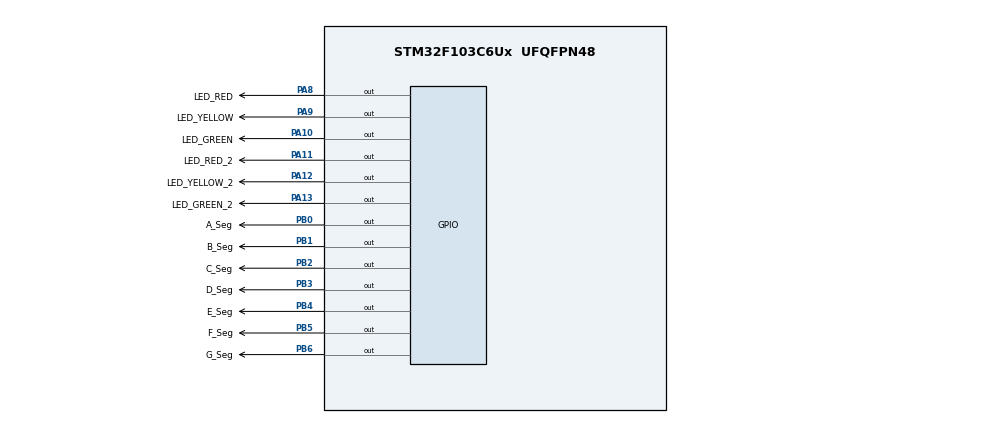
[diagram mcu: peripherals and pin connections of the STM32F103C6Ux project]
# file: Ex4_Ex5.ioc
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Mcu.Family=STM32F1
Mcu.Name=STM32F103C6Ux
Mcu.Package=UFQFPN48
NVIC.PriorityGroup=NVIC_PRIORITYGROUP_4
PA10.GPIO_Label=LED_GREEN
PA10.Signal=GPIO_Output
PA11.GPIO_Label=LED_RED_2
PA11.Signal=GPIO_Output
PA12.GPIO_Label=LED_YELLOW_2
PA12.Signal=GPIO_Output
PA13.GPIO_Label=LED_GREEN_2
PA13.Signal=GPIO_Output
PA8.GPIO_Label=LED_RED
PA8.Signal=GPIO_Output
PA9.GPIO_Label=LED_YELLOW
PA9.Signal=GPIO_Output
PB0.GPIO_Label=A_Seg
PB0.Signal=GPIO_Output
PB1.GPIO_Label=B_Seg
PB1.Signal=GPIO_Output
PB2.GPIO_Label=C_Seg
PB2.Signal=GPIO_Output
PB3.GPIO_Label=D_Seg
PB3.Signal=GPIO_Output
PB4.GPIO_Label=E_Seg
PB4.Signal=GPIO_Output
PB5.GPIO_Label=F_Seg
PB5.Signal=GPIO_Output
PB6.GPIO_Label=G_Seg
PB6.Signal=GPIO_Output
ProjectManager.HeapSize=0x200
ProjectManager.StackSize=0x400
ProjectManager.TargetToolchain=STM32CubeIDE
RCC.APB1Freq_Value=8000000
RCC.APB2Freq_Value=8000000
VP_SYS_VS_ND.Mode=No_Debug
board=custom

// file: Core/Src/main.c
/* USER CODE BEGIN Header */
/**
  ******************************************************************************
  * @file           : main.c
  * @brief          : Main program body
  ******************************************************************************
  * @attention
  *
  * <h2><center>&copy; Copyright (c) 2022 STMicroelectronics.
  * All rights reserved.</center></h2>
  *
  * This software component is licensed by ST under BSD 3-Clause license,
  * the "License"; You may not use this file except in compliance with the
  * License. You may obtain a copy of the License at:
  *                        opensource.org/licenses/BSD-3-Clause
  *
  ******************************************************************************
  */
/* USER CODE END Header */
#include "main.h"

/* USER CODE BEGIN PD */

#define RED_TIME 5
#define YELLOW_TIME 2
#define GREEN_TIME 3
/* USER CODE END PD */

void SystemClock_Config(void);
static void MX_GPIO_Init(void);

/* USER CODE BEGIN 0 */
void display7SEG(int num){

	switch(num){
		case 0:
			HAL_GPIO_WritePin(A_Seg_GPIO_Port, A_Seg_Pin, GPIO_PIN_RESET);
			HAL_GPIO_WritePin(B_Seg_GPIO_Port, B_Seg_Pin, GPIO_PIN_RESET);
			HAL_GPIO_WritePin(C_Seg_GPIO_Port, C_Seg_Pin, GPIO_PIN_RESET);
			HAL_GPIO_WritePin(D_Seg_GPIO_Port, D_Seg_Pin, GPIO_PIN_RESET);
			HAL_GPIO_WritePin(E_Seg_GPIO_Port, E_Seg_Pin, GPIO_PIN_RESET);
			HAL_GPIO_WritePin(F_Seg_GPIO_Port, F_Seg_Pin, GPIO_PIN_RESET);
			HAL_GPIO_WritePin(G_Seg_GPIO_Port, G_Seg_Pin, GPIO_PIN_SET);
			break;
		case 1:
			HAL_GPIO_WritePin(A_Seg_GPIO_Port, A_Seg_Pin, GPIO_PIN_SET);
			HAL_GPIO_WritePin(B_Seg_GPIO_Port, B_Seg_Pin, GPIO_PIN_RESET);
			HAL_GPIO_WritePin(C_Seg_GPIO_Port, C_Seg_Pin, GPIO_PIN_RESET);
			HAL_GPIO_WritePin(D_Seg_GPIO_Port, D_Seg_Pin, GPIO_PIN_SET);
			HAL_GPIO_WritePin(E_Seg_GPIO_Port, E_Seg_Pin, GPIO_PIN_SET);
			HAL_GPIO_WritePin(F_Seg_GPIO_Port, F_Seg_Pin, GPIO_PIN_SET);
			HAL_GPIO_WritePin(G_Seg_GPIO_Port, G_Seg_Pin, GPIO_PIN_SET);
			break;
		case 2:
			HAL_GPIO_WritePin(A_Seg_GPIO_Port, A_Seg_Pin, GPIO_PIN_RESET);
			HAL_GPIO_WritePin(B_Seg_GPIO_Port, B_Seg_Pin, GPIO_PIN_RESET);
			HAL_GPIO_WritePin(C_Seg_GPIO_Port, C_Seg_Pin, GPIO_PIN_SET);
			HAL_GPIO_WritePin(D_Seg_GPIO_Port, D_Seg_Pin, GPIO_PIN_RESET);
			HAL_GPIO_WritePin(E_Seg_GPIO_Port, E_Seg_Pin, GPIO_PIN_RESET);
			HAL_GPIO_WritePin(F_Seg_GPIO_Port, F_Seg_Pin, GPIO_PIN_SET);
			HAL_GPIO_WritePin(G_Seg_GPIO_Port, G_Seg_Pin, GPIO_PIN_RESET);
			break;
		case 3:
			HAL_GPIO_WritePin(A_Seg_GPIO_Port, A_Seg_Pin, GPIO_PIN_RESET);
			HAL_GPIO_WritePin(B_Seg_GPIO_Port, B_Seg_Pin, GPIO_PIN_RESET);
			HAL_GPIO_WritePin(C_Seg_GPIO_Port, C_Seg_Pin, GPIO_PIN_RESET);
			HAL_GPIO_WritePin(D_Seg_GPIO_Port, D_Seg_Pin, GPIO_PIN_RESET);
			HAL_GPIO_WritePin(E_Seg_GPIO_Port, E_Seg_Pin, GPIO_PIN_SET);
			HAL_GPIO_WritePin(F_Seg_GPIO_Port, F_Seg_Pin, GPIO_PIN_SET);
			HAL_GPIO_WritePin(G_Seg_GPIO_Port, G_Seg_Pin, GPIO_PIN_RESET);
			break;
		case 4:
			HAL_GPIO_WritePin(A_Seg_GPIO_Port, A_Seg_Pin, GPIO_PIN_SET);
			HAL_GPIO_WritePin(B_Seg_GPIO_Port, B_Seg_Pin, GPIO_PIN_RESET);
			HAL_GPIO_WritePin(C_Seg_GPIO_Port, C_Seg_Pin, GPIO_PIN_RESET);
			HAL_GPIO_WritePin(D_Seg_GPIO_Port, D_Seg_Pin, GPIO_PIN_SET);
			HAL_GPIO_WritePin(E_Seg_GPIO_Port, E_Seg_Pin, GPIO_PIN_SET);
			HAL_GPIO_WritePin(F_Seg_GPIO_Port, F_Seg_Pin, GPIO_PIN_RESET);
			HAL_GPIO_WritePin(G_Seg_GPIO_Port, G_Seg_Pin, GPIO_PIN_RESET);
			break;
		case 5:
			HAL_GPIO_WritePin(A_Seg_GPIO_Port, A_Seg_Pin, GPIO_PIN_RESET);
			HAL_GPIO_WritePin(B_Seg_GPIO_Port, B_Seg_Pin, GPIO_PIN_SET);
			HAL_GPIO_WritePin(C_Seg_GPIO_Port, C_Seg_Pin, GPIO_PIN_RESET);
			HAL_GPIO_WritePin(D_Seg_GPIO_Port, D_Seg_Pin, GPIO_PIN_RESET);
			HAL_GPIO_WritePin(E_Seg_GPIO_Port, E_Seg_Pin, GPIO_PIN_SET);
			HAL_GPIO_WritePin(F_Seg_GPIO_Port, F_Seg_Pin, GPIO_PIN_RESET);
			HAL_GPIO_WritePin(G_Seg_GPIO_Port, G_Seg_Pin, GPIO_PIN_RESET);
			break;
		case 6:
			HAL_GPIO_WritePin(A_Seg_GPIO_Port, A_Seg_Pin, GPIO_PIN_RESET);
			HAL_GPIO_WritePin(B_Seg_GPIO_Port, B_Seg_Pin, GPIO_PIN_SET);
			HAL_GPIO_WritePin(C_Seg_GPIO_Port, C_Seg_Pin, GPIO_PIN_RESET);
			HAL_GPIO_WritePin(D_Seg_GPIO_Port, D_Seg_Pin, GPIO_PIN_RESET);
			HAL_GPIO_WritePin(E_Seg_GPIO_Port, E_Seg_Pin, GPIO_PIN_RESET);
			HAL_GPIO_WritePin(F_Seg_GPIO_Port, F_Seg_Pin, GPIO_PIN_RESET);
			HAL_GPIO_WritePin(G_Seg_GPIO_Port, G_Seg_Pin, GPIO_PIN_RESET);
			break;
		case 7:
			HAL_GPIO_WritePin(A_Seg_GPIO_Port, A_Seg_Pin, GPIO_PIN_RESET);
			HAL_GPIO_WritePin(B_Seg_GPIO_Port, B_Seg_Pin, GPIO_PIN_RESET);
			HAL_GPIO_WritePin(C_Seg_GPIO_Port, C_Seg_Pin, GPIO_PIN_RESET);
			HAL_GPIO_WritePin(D_Seg_GPIO_Port, D_Seg_Pin, GPIO_PIN_SET);
			HAL_GPIO_WritePin(E_Seg_GPIO_Port, E_Seg_Pin, GPIO_PIN_SET);
			HAL_GPIO_WritePin(F_Seg_GPIO_Port, F_Seg_Pin, GPIO_PIN_SET);
			HAL_GPIO_WritePin(G_Seg_GPIO_Port, G_Seg_Pin, GPIO_PIN_SET);
			break;
		case 8:
			HAL_GPIO_WritePin(A_Seg_GPIO_Port, A_Seg_Pin, GPIO_PIN_RESET);
			HAL_GPIO_WritePin(B_Seg_GPIO_Port, B_Seg_Pin, GPIO_PIN_RESET);
			HAL_GPIO_WritePin(C_Seg_GPIO_Port, C_Seg_Pin, GPIO_PIN_RESET);
			HAL_GPIO_WritePin(D_Seg_GPIO_Port, D_Seg_Pin, GPIO_PIN_RESET);
			HAL_GPIO_WritePin(E_Seg_GPIO_Port, E_Seg_Pin, GPIO_PIN_RESET);
			HAL_GPIO_WritePin(F_Seg_GPIO_Port, F_Seg_Pin, GPIO_PIN_RESET);
			HAL_GPIO_WritePin(G_Seg_GPIO_Port, G_Seg_Pin, GPIO_PIN_RESET);
			break;
		case 9:
			HAL_GPIO_WritePin(A_Seg_GPIO_Port, A_Seg_Pin, GPIO_PIN_RESET);
			HAL_GPIO_WritePin(B_Seg_GPIO_Port, B_Seg_Pin, GPIO_PIN_RESET);
			HAL_GPIO_WritePin(C_Seg_GPIO_Port, C_Seg_Pin, GPIO_PIN_RESET);
			HAL_GPIO_WritePin(D_Seg_GPIO_Port, D_Seg_Pin, GPIO_PIN_RESET);
			HAL_GPIO_WritePin(E_Seg_GPIO_Port, E_Seg_Pin, GPIO_PIN_SET);
			HAL_GPIO_WritePin(F_Seg_GPIO_Port, F_Seg_Pin, GPIO_PIN_RESET);
			HAL_GPIO_WritePin(G_Seg_GPIO_Port, G_Seg_Pin, GPIO_PIN_RESET);
			break;
		default:
			HAL_GPIO_WritePin(A_Seg_GPIO_Port, A_Seg_Pin, GPIO_PIN_SET);
			HAL_GPIO_WritePin(B_Seg_GPIO_Port, B_Seg_Pin, GPIO_PIN_SET);
			HAL_GPIO_WritePin(C_Seg_GPIO_Port, C_Seg_Pin, GPIO_PIN_SET);
			HAL_GPIO_WritePin(D_Seg_GPIO_Port, D_Seg_Pin, GPIO_PIN_SET);
			HAL_GPIO_WritePin(E_Seg_GPIO_Port, E_Seg_Pin, GPIO_PIN_SET);
			HAL_GPIO_WritePin(F_Seg_GPIO_Port, F_Seg_Pin, GPIO_PIN_SET);
			HAL_GPIO_WritePin(G_Seg_GPIO_Port, G_Seg_Pin, GPIO_PIN_SET);
			break;
	}
}
/* USER CODE END 0 */

int main(void)
{

  /* MCU Configuration--------------------------------------------------------*/

  /* Reset of all peripherals, Initializes the Flash interface and the Systick. */
  HAL_Init();

  /* Configure the system clock */
  SystemClock_Config();

  /* Initialize all configured peripherals */
  MX_GPIO_Init();

  /* Infinite loop */
  /* USER CODE BEGIN WHILE */
	int red_counter = RED_TIME, red_check_on=1;
	int yellow_counter= YELLOW_TIME, yellow_check_on=0;
	int green_counter= GREEN_TIME, green_check_on=0;

	int red_counter2 = RED_TIME, red_check_on2=0;
	int yellow_counter2=YELLOW_TIME, yellow_check_on2=0;
	int green_counter2=GREEN_TIME, green_check_on2=1;

  while (1)
  {
    /* USER CODE END WHILE */
	  //Đếm đèn 1
	if(red_counter<=0 && red_check_on){
	  red_check_on=0;
	  red_counter=RED_TIME;
	  yellow_check_on=0;
	  green_check_on=1;
	}else if(yellow_counter<=0 && yellow_check_on){
	  yellow_check_on=0;
	  yellow_counter=YELLOW_TIME;
	  red_check_on=1;
	  green_check_on=0;
	}else if(green_counter<=0 && green_check_on){
	  green_check_on=0;
	  green_counter=GREEN_TIME;
	  yellow_check_on=1;
	  red_check_on=0;
	}

	//Đếm đèn 2
	if(red_counter2<=0 && red_check_on2){
	  red_check_on2=0;
	  red_counter2=RED_TIME;
	  yellow_check_on2=0;
	  green_check_on2=1;
	}else if(yellow_counter2<=0 && yellow_check_on2){
	  yellow_check_on2=0;
	  yellow_counter2=YELLOW_TIME;
	  red_check_on2=1;
	  green_check_on2=0;
	}else if(green_counter2<=0 && green_check_on2){
	  green_check_on2=0;
	  green_counter2=GREEN_TIME;
	  yellow_check_on2=1;
	  red_check_on2=0;
	}
	//Hiển thị đèn 1
	if(red_check_on && !yellow_check_on && !green_check_on){
	  display7SEG ( red_counter--) ;
	  HAL_GPIO_WritePin(LED_RED_GPIO_Port, LED_RED_Pin, GPIO_PIN_RESET);
	  HAL_GPIO_WritePin(LED_YELLOW_GPIO_Port, LED_YELLOW_Pin, GPIO_PIN_SET);
	  HAL_GPIO_WritePin(LED_GREEN_GPIO_Port, LED_GREEN_Pin, GPIO_PIN_SET);
	}else if(!red_check_on && yellow_check_on && !green_check_on){
	  display7SEG ( yellow_counter--) ;
	  HAL_GPIO_WritePin(LED_RED_GPIO_Port, LED_RED_Pin, GPIO_PIN_SET);
	  HAL_GPIO_WritePin(LED_YELLOW_GPIO_Port, LED_YELLOW_Pin, GPIO_PIN_RESET);
	  HAL_GPIO_WritePin(LED_GREEN_GPIO_Port, LED_GREEN_Pin, GPIO_PIN_SET);
	}else if(!red_check_on && !yellow_check_on && green_check_on){
	  display7SEG ( green_counter--) ;
	  HAL_GPIO_WritePin(LED_RED_GPIO_Port, LED_RED_Pin, GPIO_PIN_SET);
	  HAL_GPIO_WritePin(LED_YELLOW_GPIO_Port, LED_YELLOW_Pin, GPIO_PIN_SET);
	  HAL_GPIO_WritePin(LED_GREEN_GPIO_Port, LED_GREEN_Pin, GPIO_PIN_RESET);
	}

	//Hiển thị đèn 2
	if(red_check_on2 && !yellow_check_on2 && !green_check_on2){
	  red_counter2--;
	  HAL_GPIO_WritePin(LED_RED_2_GPIO_Port, LED_RED_2_Pin, GPIO_PIN_RESET);
	  HAL_GPIO_WritePin(LED_YELLOW_2_GPIO_Port, LED_YELLOW_2_Pin, GPIO_PIN_SET);
	  HAL_GPIO_WritePin(LED_GREEN_2_GPIO_Port, LED_GREEN_2_Pin, GPIO_PIN_SET);

	}else if(!red_check_on2 && yellow_check_on2 && !green_check_on2){
	  yellow_counter2--;
	  HAL_GPIO_WritePin(LED_RED_2_GPIO_Port, LED_RED_2_Pin, GPIO_PIN_SET);
	  HAL_GPIO_WritePin(LED_YELLOW_2_GPIO_Port, LED_YELLOW_2_Pin, GPIO_PIN_RESET);
	  HAL_GPIO_WritePin(LED_GREEN_2_GPIO_Port, LED_GREEN_2_Pin, GPIO_PIN_SET);

	}else if(!red_check_on2 && !yellow_check_on2 && green_check_on2){
	  green_counter2--;
	  HAL_GPIO_WritePin(LED_RED_2_GPIO_Port, LED_RED_2_Pin, GPIO_PIN_SET);
	  HAL_GPIO_WritePin(LED_YELLOW_2_GPIO_Port, LED_YELLOW_2_Pin, GPIO_PIN_SET);
	  HAL_GPIO_WritePin(LED_GREEN_2_GPIO_Port, LED_GREEN_2_Pin, GPIO_PIN_RESET);

	}
	//HAL_GPIO_WritePin(LED_GREEN_2_GPIO_Port, LED_GREEN_2_Pin, GPIO_PIN_RESET);
	HAL_Delay(1000);

  }
}

void SystemClock_Config(void)
{
  RCC_OscInitTypeDef RCC_OscInitStruct = {0};
  RCC_ClkInitTypeDef RCC_ClkInitStruct = {0};

  /** Initializes the RCC Oscillators according to the specified parameters
  * in the RCC_OscInitTypeDef structure.
  */
  RCC_OscInitStruct.OscillatorType = RCC_OSCILLATORTYPE_HSI;
  RCC_OscInitStruct.HSIState = RCC_HSI_ON;
  RCC_OscInitStruct.HSICalibrationValue = RCC_HSICALIBRATION_DEFAULT;
  RCC_OscInitStruct.PLL.PLLState = RCC_PLL_NONE;
  if (HAL_RCC_OscConfig(&RCC_OscInitStruct) != HAL_OK)
  {
    Error_Handler();
  }
  /** Initializes the CPU, AHB and APB buses clocks
  */
  RCC_ClkInitStruct.ClockType = RCC_CLOCKTYPE_HCLK|RCC_CLOCKTYPE_SYSCLK
                              |RCC_CLOCKTYPE_PCLK1|RCC_CLOCKTYPE_PCLK2;
  RCC_ClkInitStruct.SYSCLKSource = RCC_SYSCLKSOURCE_HSI;
  RCC_ClkInitStruct.AHBCLKDivider = RCC_SYSCLK_DIV1;
  RCC_ClkInitStruct.APB1CLKDivider = RCC_HCLK_DIV1;
  RCC_ClkInitStruct.APB2CLKDivider = RCC_HCLK_DIV1;

  if (HAL_RCC_ClockConfig(&RCC_ClkInitStruct, FLASH_LATENCY_0) != HAL_OK)
  {
    Error_Handler();
  }
}

static void MX_GPIO_Init(void)
{
  GPIO_InitTypeDef GPIO_InitStruct = {0};

  /* GPIO Ports Clock Enable */
  __HAL_RCC_GPIOB_CLK_ENABLE();
  __HAL_RCC_GPIOA_CLK_ENABLE();

  /*Configure GPIO pin Output Level */
  HAL_GPIO_WritePin(GPIOB, A_Seg_Pin|B_Seg_Pin|C_Seg_Pin|D_Seg_Pin
                          |E_Seg_Pin|F_Seg_Pin|G_Seg_Pin, GPIO_PIN_RESET);

  /*Configure GPIO pin Output Level */
  HAL_GPIO_WritePin(GPIOA, LED_RED_Pin|LED_YELLOW_Pin|LED_GREEN_Pin|LED_RED_2_Pin
                          |LED_YELLOW_2_Pin|LED_GREEN_2_Pin, GPIO_PIN_RESET);

  /*Configure GPIO pins : A_Seg_Pin B_Seg_Pin C_Seg_Pin D_Seg_Pin
                           E_Seg_Pin F_Seg_Pin G_Seg_Pin */
  GPIO_InitStruct.Pin = A_Seg_Pin|B_Seg_Pin|C_Seg_Pin|D_Seg_Pin
                          |E_Seg_Pin|F_Seg_Pin|G_Seg_Pin;
  GPIO_InitStruct.Mode = GPIO_MODE_OUTPUT_PP;
  GPIO_InitStruct.Pull = GPIO_NOPULL;
  GPIO_InitStruct.Speed = GPIO_SPEED_FREQ_LOW;
  HAL_GPIO_Init(GPIOB, &GPIO_InitStruct);

  /*Configure GPIO pins : LED_RED_Pin LED_YELLOW_Pin LED_GREEN_Pin LED_RED_2_Pin
                           LED_YELLOW_2_Pin LED_GREEN_2_Pin */
  GPIO_InitStruct.Pin = LED_RED_Pin|LED_YELLOW_Pin|LED_GREEN_Pin|LED_RED_2_Pin
                          |LED_YELLOW_2_Pin|LED_GREEN_2_Pin;
  GPIO_InitStruct.Mode = GPIO_MODE_OUTPUT_PP;
  GPIO_InitStruct.Pull = GPIO_NOPULL;
  GPIO_InitStruct.Speed = GPIO_SPEED_FREQ_LOW;
  HAL_GPIO_Init(GPIOA, &GPIO_InitStruct);

}

void Error_Handler(void)
{
  __disable_irq();
  while (1)
  {
  }
}

/************************ (C) COPYRIGHT STMicroelectronics *****END OF FILE****/
